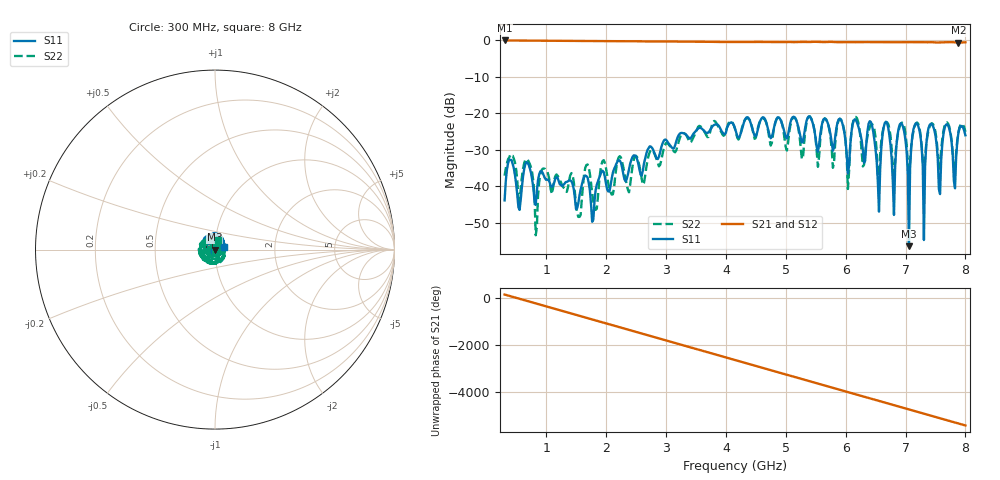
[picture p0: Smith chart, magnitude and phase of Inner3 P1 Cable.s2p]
#  HZ  S  DB  R  50.00
! Rohde & Schwarz Vector Network Analyzer
! Rohde-Schwarz,ZNB8-4Port,1311601044101761,1.95
! Created: UTC 2/21/2014, 10:25:52 PM
! freq[Hz]  db:S11  ang:S11  db:S21  ang:S21  db:S12  ang:S12  db:S22  ang:S22
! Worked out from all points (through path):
!   401 points, 300 MHz to 8 GHz, reference 50 ohm
!   highest |S21| = -0.11 dB at 300 MHz (marker M1); lowest = -0.7 dB at 7.885 GHz (marker M2)
!   group delay of S21, straight-line fit = 2.01 ns
!   lowest |S11| = -56.4 dB at 7.057 GHz (marker M3), VSWR 1.00, Z = 49.9 - j0.0754 ohm
!   |S11| at or under -10 dB: start of sweep to end of sweep
!   |S22| runs from -53.4 to -20.9 dB; largest |S21 - S12| = 0.032
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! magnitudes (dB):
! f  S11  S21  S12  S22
! 300 MHz  -43.8  -0.1  -0.2  -37.1
! 1.59 GHz  -39.6  -0.3  -0.4  -43.6
! 2.88 GHz  -31.9  -0.4  -0.4  -34.5
! 4.15 GHz  -24.2  -0.5  -0.5  -24.3
! 5.44 GHz  -22.2  -0.5  -0.5  -22.1
! 5.786 GHz  -30.3  -0.5  -0.5  -34.9
! 5.921 GHz  -21.8  -0.6  -0.6  -21.7
! 6.037 GHz  -36.5  -0.5  -0.5  -40.7
! 6.152 GHz  -21.7  -0.6  -0.6  -21.1
! 6.306 GHz  -33.6  -0.5  -0.5  -34.1
! 6.421 GHz  -22.4  -0.6  -0.6  -23.2
! 6.537 GHz  -38.8  -0.6  -0.6  -37.4
! 6.729 GHz  -26.0  -0.6  -0.6  -24.1
! 6.806 GHz  -47.8  -0.6  -0.6  -38.4
! 6.941 GHz  -23.0  -0.6  -0.6  -22.6
! 7.057 GHz  -56.4  -0.6  -0.6  -37.3
! 7.172 GHz  -22.8  -0.6  -0.6  -22.8
! 7.307 GHz  -54.7  -0.6  -0.6  -36.1
! 7.423 GHz  -22.9  -0.6  -0.6  -23.0
! 7.557 GHz  -40.8  -0.6  -0.6  -35.2
! 7.885 GHz  -25.3  -0.7  -0.7  -25.1
! 8 GHz  -26.0  -0.6  -0.6  -25.1
